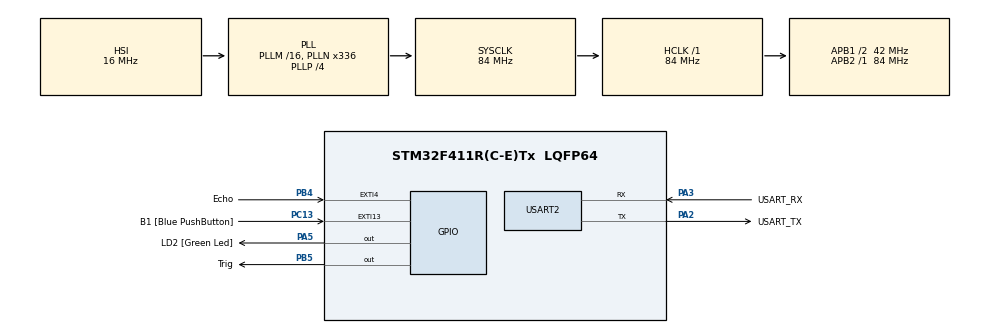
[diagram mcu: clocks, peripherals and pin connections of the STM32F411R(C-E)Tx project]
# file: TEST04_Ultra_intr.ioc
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Mcu.Family=STM32F4
Mcu.Name=STM32F411R(C-E)Tx
Mcu.Package=LQFP64
NVIC.EXTI4_IRQn=true\:0\:0\:false\:false\:true\:true\:true\:true
NVIC.PriorityGroup=NVIC_PRIORITYGROUP_0
NVIC.TIM3_IRQn=true\:0\:0\:false\:false\:true\:true\:true\:true
PA13.GPIO_Label=TMS
PA13.Mode=Serial_Wire
PA13.Signal=SYS_JTMS-SWDIO
PA14.GPIO_Label=TCK
PA14.Mode=Serial_Wire
PA14.Signal=SYS_JTCK-SWCLK
PA2.GPIO_Label=USART_TX
PA2.Mode=Asynchronous
PA2.Signal=USART2_TX
PA3.GPIO_Label=USART_RX
PA3.Mode=Asynchronous
PA3.Signal=USART2_RX
PA5.GPIO_Label=LD2 [Green Led]
PA5.Signal=GPIO_Output
PB3.GPIO_Label=SWO
PB3.Signal=SYS_JTDO-SWO
PB4.GPIO_Label=Echo
PB4.GPIO_ModeDefaultEXTI=GPIO_MODE_IT_RISING_FALLING
PB4.Signal=GPXTI4
PB5.GPIO_Label=Trig
PB5.Signal=GPIO_Output
PC13-ANTI_TAMP.GPIO_Label=B1 [Blue PushButton]
PC13-ANTI_TAMP.GPIO_ModeDefaultEXTI=GPIO_MODE_IT_FALLING
PC13-ANTI_TAMP.Signal=GPXTI13
PC14-OSC32_IN.Mode=LSE-External-Oscillator
PC14-OSC32_IN.Signal=RCC_OSC32_IN
PC15-OSC32_OUT.Mode=LSE-External-Oscillator
PC15-OSC32_OUT.Signal=RCC_OSC32_OUT
PH0\ -\ OSC_IN.Mode=HSE-External-Clock-Source
PH0\ -\ OSC_IN.Signal=RCC_OSC_IN
PH1\ -\ OSC_OUT.Mode=HSE-External-Clock-Source
PH1\ -\ OSC_OUT.Signal=RCC_OSC_OUT
ProjectManager.HeapSize=0x200
ProjectManager.StackSize=0x400
ProjectManager.TargetToolchain=STM32CubeIDE
RCC.48MHZClocksFreq_Value=84000000
RCC.AHBFreq_Value=84000000
RCC.APB1CLKDivider=RCC_HCLK_DIV2
RCC.APB1Freq_Value=42000000
RCC.APB1TimFreq_Value=84000000
RCC.APB2Freq_Value=84000000
RCC.APB2TimFreq_Value=84000000
RCC.CortexFreq_Value=84000000
RCC.FLatency-AdvancedSettings=FLASH_LATENCY_2
RCC.HCLKFreq_Value=84000000
RCC.HSE_VALUE=8000000
RCC.HSI_VALUE=16000000
RCC.PLLN=336
RCC.PLLP=RCC_PLLP_DIV4
RCC.SYSCLKFreq_VALUE=84000000
RCC.SYSCLKSource=RCC_SYSCLKSOURCE_PLLCLK
RCC.VCOOutputFreq_Value=336000000
TIM3.Period=10000-1
TIM3.Prescaler=560-1
TIM5.Prescaler=84-1
USART2.VirtualMode=VM_ASYNC
VP_TIM3_VS_ClockSourceINT.Mode=Internal
VP_TIM5_VS_ClockSourceINT.Mode=Internal
board=NUCLEO-F411RE

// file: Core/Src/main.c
/* USER CODE BEGIN Header */
/**
  ******************************************************************************
  * @file           : main.c
  * @brief          : Main program body
  ******************************************************************************
  * @attention
  *
  * Copyright (c) 2024 STMicroelectronics.
  * All rights reserved.
  *
  * This software is licensed under terms that can be found in the LICENSE file
  * in the root directory of this software component.
  * If no LICENSE file comes with this software, it is provided AS-IS.
  *
  ******************************************************************************
  */
/* USER CODE END Header */
#include "main.h"

/* USER CODE BEGIN Includes */
#include <stdio.h>
/* USER CODE END Includes */

TIM_HandleTypeDef htim3;
TIM_HandleTypeDef htim5;

UART_HandleTypeDef huart2;

void SystemClock_Config(void);
static void MX_GPIO_Init(void);
static void MX_USART2_UART_Init(void);
static void MX_TIM3_Init(void);
static void MX_TIM5_Init(void);

/* USER CODE BEGIN 0 */
void microDelay(int us)
{
	htim5.Instance->CNT = 0;
	while(htim5.Instance->CNT < us);

	//int t1 = htim5.Instance->CNT;
	/*while(1)
	{
		int tmp_us = htim5.Instance->CNT - t1;
		if(tmp_us > us) break;
	}*/
	//while((htim5.Instance->CNT - t1) < us);
}

void Trigger()
{
	//Trigger signal
	HAL_GPIO_WritePin(Trig_GPIO_Port,Trig_Pin,1);
	microDelay(10); // 10us Trigger signal
	HAL_GPIO_WritePin(Trig_GPIO_Port,Trig_Pin,0);
	microDelay(20);
}

int ts = 0;
double dist = 0.0;

void HAL_GPIO_EXTI_Callback(uint16_t GPIO_Pin)
{
	if(GPIO_Pin == Echo_Pin)
	{
		int tt = htim5.Instance->CNT; // micro count

		if(HAL_GPIO_ReadPin(Echo_GPIO_Port, Echo_Pin) == 1) // : Rising edge
		{
			ts = tt;
		}
		else
		{
			dist = (tt - ts) * (0.000170); // meter
		}
	}
}

void HAL_TIM_PeriodElapsedCallback(TIM_HandleTypeDef *htim)
{
	if(htim == &htim3) // htim3 ISR
	{
		Trigger();
	}
}
/* USER CODE END 0 */

int main(void)
{

  /* MCU Configuration--------------------------------------------------------*/

  /* Reset of all peripherals, Initializes the Flash interface and the Systick. */
  HAL_Init();

  /* Configure the system clock */
  SystemClock_Config();

  /* Initialize all configured peripherals */
  MX_GPIO_Init();
  MX_USART2_UART_Init();
  MX_TIM3_Init();
  MX_TIM5_Init();
  /* USER CODE BEGIN 2 */

  ProgramStart("Ultra Sonic using Interrupt");
  HAL_TIM_Base_Start(&htim5);
  HAL_TIM_Base_Start_IT(&htim3);
  /* USER CODE END 2 */

  /* Infinite loop */
  while (1)
  {

    /* USER CODE BEGIN 3 */
	  double d = dist*100; // Distance()
	  //printf("\033[?25l"); // cursor off
	  //printf("\033[?25h"); // cursor on
	  //printf("\033[A"); // cursor up
	  //printf("\033[#3"); // double size string upper half
	  //printf("\033[#4"); // double size string lower half
	  printf("\033[10;30H\033[#3Distance : %.2f cm    ", d);
	  printf("\033[11;30H\033[#4Distance : %.2f cm    \033[9;10H\n", d);
	  HAL_Delay(100); // 10ms delay
  }
  /* USER CODE END 3 */
}

void SystemClock_Config(void)
{
  RCC_OscInitTypeDef RCC_OscInitStruct = {0};
  RCC_ClkInitTypeDef RCC_ClkInitStruct = {0};

  /** Configure the main internal regulator output voltage
  */
  __HAL_RCC_PWR_CLK_ENABLE();
  __HAL_PWR_VOLTAGESCALING_CONFIG(PWR_REGULATOR_VOLTAGE_SCALE1);

  /** Initializes the RCC Oscillators according to the specified parameters
  * in the RCC_OscInitTypeDef structure.
  */
  RCC_OscInitStruct.OscillatorType = RCC_OSCILLATORTYPE_HSI;
  RCC_OscInitStruct.HSIState = RCC_HSI_ON;
  RCC_OscInitStruct.HSICalibrationValue = RCC_HSICALIBRATION_DEFAULT;
  RCC_OscInitStruct.PLL.PLLState = RCC_PLL_ON;
  RCC_OscInitStruct.PLL.PLLSource = RCC_PLLSOURCE_HSI;
  RCC_OscInitStruct.PLL.PLLM = 16;
  RCC_OscInitStruct.PLL.PLLN = 336;
  RCC_OscInitStruct.PLL.PLLP = RCC_PLLP_DIV4;
  RCC_OscInitStruct.PLL.PLLQ = 4;
  if (HAL_RCC_OscConfig(&RCC_OscInitStruct) != HAL_OK)
  {
    Error_Handler();
  }

  /** Initializes the CPU, AHB and APB buses clocks
  */
  RCC_ClkInitStruct.ClockType = RCC_CLOCKTYPE_HCLK|RCC_CLOCKTYPE_SYSCLK
                              |RCC_CLOCKTYPE_PCLK1|RCC_CLOCKTYPE_PCLK2;
  RCC_ClkInitStruct.SYSCLKSource = RCC_SYSCLKSOURCE_PLLCLK;
  RCC_ClkInitStruct.AHBCLKDivider = RCC_SYSCLK_DIV1;
  RCC_ClkInitStruct.APB1CLKDivider = RCC_HCLK_DIV2;
  RCC_ClkInitStruct.APB2CLKDivider = RCC_HCLK_DIV1;

  if (HAL_RCC_ClockConfig(&RCC_ClkInitStruct, FLASH_LATENCY_2) != HAL_OK)
  {
    Error_Handler();
  }
}

static void MX_TIM3_Init(void)
{

  TIM_ClockConfigTypeDef sClockSourceConfig = {0};
  TIM_MasterConfigTypeDef sMasterConfig = {0};

  htim3.Instance = TIM3;
  htim3.Init.Prescaler = 560-1;
  htim3.Init.CounterMode = TIM_COUNTERMODE_UP;
  htim3.Init.Period = 10000-1;
  htim3.Init.ClockDivision = TIM_CLOCKDIVISION_DIV1;
  htim3.Init.AutoReloadPreload = TIM_AUTORELOAD_PRELOAD_DISABLE;
  if (HAL_TIM_Base_Init(&htim3) != HAL_OK)
  {
    Error_Handler();
  }
  sClockSourceConfig.ClockSource = TIM_CLOCKSOURCE_INTERNAL;
  if (HAL_TIM_ConfigClockSource(&htim3, &sClockSourceConfig) != HAL_OK)
  {
    Error_Handler();
  }
  sMasterConfig.MasterOutputTrigger = TIM_TRGO_RESET;
  sMasterConfig.MasterSlaveMode = TIM_MASTERSLAVEMODE_DISABLE;
  if (HAL_TIMEx_MasterConfigSynchronization(&htim3, &sMasterConfig) != HAL_OK)
  {
    Error_Handler();
  }

}

static void MX_TIM5_Init(void)
{

  TIM_ClockConfigTypeDef sClockSourceConfig = {0};
  TIM_MasterConfigTypeDef sMasterConfig = {0};

  htim5.Instance = TIM5;
  htim5.Init.Prescaler = 84-1;
  htim5.Init.CounterMode = TIM_COUNTERMODE_UP;
  htim5.Init.Period = 4294967295;
  htim5.Init.ClockDivision = TIM_CLOCKDIVISION_DIV1;
  htim5.Init.AutoReloadPreload = TIM_AUTORELOAD_PRELOAD_DISABLE;
  if (HAL_TIM_Base_Init(&htim5) != HAL_OK)
  {
    Error_Handler();
  }
  sClockSourceConfig.ClockSource = TIM_CLOCKSOURCE_INTERNAL;
  if (HAL_TIM_ConfigClockSource(&htim5, &sClockSourceConfig) != HAL_OK)
  {
    Error_Handler();
  }
  sMasterConfig.MasterOutputTrigger = TIM_TRGO_RESET;
  sMasterConfig.MasterSlaveMode = TIM_MASTERSLAVEMODE_DISABLE;
  if (HAL_TIMEx_MasterConfigSynchronization(&htim5, &sMasterConfig) != HAL_OK)
  {
    Error_Handler();
  }

}

static void MX_USART2_UART_Init(void)
{

  huart2.Instance = USART2;
  huart2.Init.BaudRate = 115200;
  huart2.Init.WordLength = UART_WORDLENGTH_8B;
  huart2.Init.StopBits = UART_STOPBITS_1;
  huart2.Init.Parity = UART_PARITY_NONE;
  huart2.Init.Mode = UART_MODE_TX_RX;
  huart2.Init.HwFlowCtl = UART_HWCONTROL_NONE;
  huart2.Init.OverSampling = UART_OVERSAMPLING_16;
  if (HAL_UART_Init(&huart2) != HAL_OK)
  {
    Error_Handler();
  }

}

static void MX_GPIO_Init(void)
{
  GPIO_InitTypeDef GPIO_InitStruct = {0};

  /* GPIO Ports Clock Enable */
  __HAL_RCC_GPIOC_CLK_ENABLE();
  __HAL_RCC_GPIOH_CLK_ENABLE();
  __HAL_RCC_GPIOA_CLK_ENABLE();
  __HAL_RCC_GPIOB_CLK_ENABLE();

  /*Configure GPIO pin Output Level */
  HAL_GPIO_WritePin(LD2_GPIO_Port, LD2_Pin, GPIO_PIN_RESET);

  /*Configure GPIO pin Output Level */
  HAL_GPIO_WritePin(Trig_GPIO_Port, Trig_Pin, GPIO_PIN_RESET);

  /*Configure GPIO pin : B1_Pin */
  GPIO_InitStruct.Pin = B1_Pin;
  GPIO_InitStruct.Mode = GPIO_MODE_IT_FALLING;
  GPIO_InitStruct.Pull = GPIO_NOPULL;
  HAL_GPIO_Init(B1_GPIO_Port, &GPIO_InitStruct);

  /*Configure GPIO pin : LD2_Pin */
  GPIO_InitStruct.Pin = LD2_Pin;
  GPIO_InitStruct.Mode = GPIO_MODE_OUTPUT_PP;
  GPIO_InitStruct.Pull = GPIO_NOPULL;
  GPIO_InitStruct.Speed = GPIO_SPEED_FREQ_LOW;
  HAL_GPIO_Init(LD2_GPIO_Port, &GPIO_InitStruct);

  /*Configure GPIO pin : Echo_Pin */
  GPIO_InitStruct.Pin = Echo_Pin;
  GPIO_InitStruct.Mode = GPIO_MODE_IT_RISING_FALLING;
  GPIO_InitStruct.Pull = GPIO_NOPULL;
  HAL_GPIO_Init(Echo_GPIO_Port, &GPIO_InitStruct);

  /*Configure GPIO pin : Trig_Pin */
  GPIO_InitStruct.Pin = Trig_Pin;
  GPIO_InitStruct.Mode = GPIO_MODE_OUTPUT_PP;
  GPIO_InitStruct.Pull = GPIO_NOPULL;
  GPIO_InitStruct.Speed = GPIO_SPEED_FREQ_LOW;
  HAL_GPIO_Init(Trig_GPIO_Port, &GPIO_InitStruct);

  /* EXTI interrupt init*/
  HAL_NVIC_SetPriority(EXTI4_IRQn, 0, 0);
  HAL_NVIC_EnableIRQ(EXTI4_IRQn);

}

void Error_Handler(void)
{
  __disable_irq();
  while (1)
  {
  }
}
